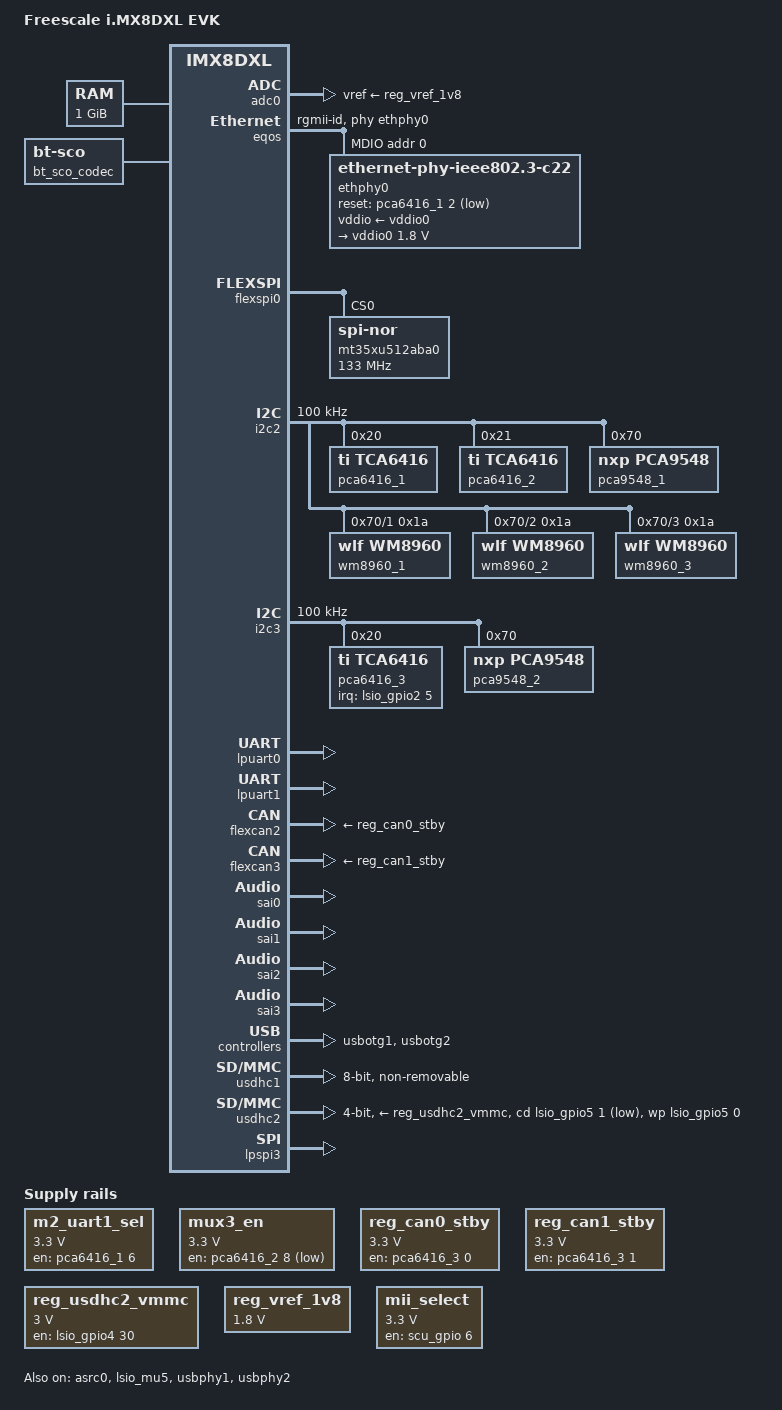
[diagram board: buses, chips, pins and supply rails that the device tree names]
// SPDX-License-Identifier: GPL-2.0+
/*
 * Copyright 2019~2020, 2022 NXP
 */

/dts-v1/;

#include "imx8dxl.dtsi"

/ {
	model = "Freescale i.MX8DXL EVK";
	compatible = "fsl,imx8dxl-evk", "fsl,imx8dxl";

	aliases {
		i2c2 = &i2c2;
		mmc0 = &usdhc1;
		mmc1 = &usdhc2;
		serial0 = &lpuart0;
		serial1 = &lpuart1;
		serial6 = &cm40_lpuart;
	};

	chosen {
		stdout-path = &lpuart0;
	};

	imx8dxl-cm4 {
		compatible = "fsl,imx8qxp-cm4";
		clocks = <&clk_dummy>;
		mbox-names = "tx", "rx", "rxdb";
		mboxes = <&lsio_mu5 0 1 &lsio_mu5 1 1 &lsio_mu5 3 1>;
		memory-region = <&vdevbuffer>, <&vdev0vring0>, <&vdev0vring1>,
				<&vdev1vring0>, <&vdev1vring1>, <&rsc_table>;
		power-domains = <&pd IMX_SC_R_M4_0_PID0>, <&pd IMX_SC_R_M4_0_MU_1A>;
		fsl,resource-id = <IMX_SC_R_M4_0_PID0>;
		fsl,entry-address = <0x34fe0000>;
	};


	memory@80000000 {
		device_type = "memory";
		reg = <0x00000000 0x80000000 0 0x40000000>;
	};

	reserved-memory {
		#address-cells = <2>;
		#size-cells = <2>;
		ranges;

		/*
		 * Memory reserved for optee usage. Please do not use.
		 * This will be automatically added to dtb if OP-TEE is installed.
		 * optee@96000000 {
		 *     reg = <0 0x96000000 0 0x2000000>;
		 *     no-map;
		 * };
		 */

		/* global autoconfigured region for contiguous allocations */
		linux,cma {
			compatible = "shared-dma-pool";
			reusable;
			size = <0 0x14000000>;
			alloc-ranges = <0 0x98000000 0 0x14000000>;
			linux,cma-default;
		};

		vdev0vring0: memory0@90000000 {
			reg = <0 0x90000000 0 0x8000>;
			no-map;
		};

		vdev0vring1: memory@90008000 {
			reg = <0 0x90008000 0 0x8000>;
			no-map;
		};

		vdev1vring0: memory@90010000 {
			reg = <0 0x90010000 0 0x8000>;
			no-map;
		};

		vdev1vring1: memory@90018000 {
			reg = <0 0x90018000 0 0x8000>;
			no-map;
		};

		rsc_table: memory-rsc-table@900ff000 {
			reg = <0 0x900ff000 0 0x1000>;
			no-map;
		};

		vdevbuffer: memory-vdevbuffer@90400000 {
			compatible = "shared-dma-pool";
			reg = <0 0x90400000 0 0x100000>;
			no-map;
		};
	};

	m2_uart1_sel: regulator-m2uart1sel {
		compatible = "regulator-fixed";
		regulator-min-microvolt = <3300000>;
		regulator-max-microvolt = <3300000>;
		regulator-name = "m2_uart1_sel";
		gpio = <&pca6416_1 6 GPIO_ACTIVE_HIGH>;
		enable-active-high;
		regulator-always-on;
	};

	mux3_en: regulator-0 {
		compatible = "regulator-fixed";
		regulator-min-microvolt = <3300000>;
		regulator-max-microvolt = <3300000>;
		regulator-name = "mux3_en";
		gpio = <&pca6416_2 8 GPIO_ACTIVE_LOW>;
		regulator-always-on;
	};

	reg_fec1_sel: regulator-1 {
		compatible = "regulator-fixed";
		regulator-name = "fec1_supply";
		regulator-min-microvolt = <3300000>;
		regulator-max-microvolt = <3300000>;
		gpio = <&pca6416_1 11 GPIO_ACTIVE_LOW>;
		regulator-always-on;
		status = "disabled";
	};

	reg_fec1_io: regulator-2 {
		compatible = "regulator-fixed";
		regulator-name = "fec1_io_supply";
		regulator-min-microvolt = <1800000>;
		regulator-max-microvolt = <1800000>;
		gpio = <&max7322 0 GPIO_ACTIVE_HIGH>;
		enable-active-high;
		regulator-always-on;
		status = "disabled";
	};

	reg_can0_stby: regulator-4 {
		compatible = "regulator-fixed";
		regulator-name = "can0-stby";
		regulator-min-microvolt = <3300000>;
		regulator-max-microvolt = <3300000>;
		gpio = <&pca6416_3 0 GPIO_ACTIVE_HIGH>;
		enable-active-high;
	};

	reg_can1_stby: regulator-5 {
		compatible = "regulator-fixed";
		regulator-name = "can1-stby";
		regulator-min-microvolt = <3300000>;
		regulator-max-microvolt = <3300000>;
		gpio = <&pca6416_3 1 GPIO_ACTIVE_HIGH>;
		enable-active-high;
	};

	reg_usdhc2_vmmc: regulator-3 {
		compatible = "regulator-fixed";
		regulator-name = "SD1_SPWR";
		regulator-min-microvolt = <3000000>;
		regulator-max-microvolt = <3000000>;
		gpio = <&lsio_gpio4 30 GPIO_ACTIVE_HIGH>;
		enable-active-high;
		off-on-delay-us = <3480>;
	};

	reg_vref_1v8: regulator-adc-vref {
		compatible = "regulator-fixed";
		regulator-name = "vref_1v8";
		regulator-min-microvolt = <1800000>;
		regulator-max-microvolt = <1800000>;
	};

	mii_select: regulator-4 {
		compatible = "regulator-fixed";
		regulator-name = "mii-select";
		regulator-min-microvolt = <3300000>;
		regulator-max-microvolt = <3300000>;
		gpio = <&scu_gpio 6 GPIO_ACTIVE_HIGH>;
		enable-active-high;
		regulator-always-on;
	};

	bt_sco_codec: audio-codec-bt {
		compatible = "linux,bt-sco";
		#sound-dai-cells = <1>;
	};

	sound-bt-sco {
		compatible = "simple-audio-card";
		simple-audio-card,name = "bt-sco-audio";
		simple-audio-card,format = "dsp_a";
		simple-audio-card,bitclock-inversion;
		simple-audio-card,frame-master = <&btcpu>;
		simple-audio-card,bitclock-master = <&btcpu>;

		btcpu: simple-audio-card,cpu {
			sound-dai = <&sai0>;
			dai-tdm-slot-num = <2>;
			dai-tdm-slot-width = <16>;
		};

		simple-audio-card,codec {
			sound-dai = <&bt_sco_codec 1>;
		};
	};

	sound-wm8960-1 {
		compatible = "fsl,imx-audio-wm8960";
		model = "wm8960-audio";
		audio-cpu = <&sai1>;
		audio-codec = <&wm8960_1>;
		audio-asrc = <&asrc0>;
		audio-routing = "Headphone Jack", "HP_L",
				"Headphone Jack", "HP_R",
				"Ext Spk", "SPK_LP",
				"Ext Spk", "SPK_LN",
				"Ext Spk", "SPK_RP",
				"Ext Spk", "SPK_RN",
				"LINPUT1", "Mic Jack",
				"Mic Jack", "MICB";
	};

	sound-wm8960-2 {
		compatible = "fsl,imx-audio-wm8960";
		model = "wm8960-audio-2";
		audio-cpu = <&sai2>;
		audio-codec = <&wm8960_2>;
		audio-routing = "Headphone Jack", "HP_L",
				"Headphone Jack", "HP_R",
				"Ext Spk", "SPK_LP",
				"Ext Spk", "SPK_LN",
				"Ext Spk", "SPK_RP",
				"Ext Spk", "SPK_RN",
				"LINPUT1", "Mic Jack",
				"Mic Jack", "MICB";
	};

	sound-wm8960-3 {
		compatible = "fsl,imx-audio-wm8960";
		model = "wm8960-audio-3";
		audio-cpu = <&sai3>;
		audio-codec = <&wm8960_3>;
		audio-routing = "Headphone Jack", "HP_L",
				"Headphone Jack", "HP_R",
				"Ext Spk", "SPK_LP",
				"Ext Spk", "SPK_LN",
				"Ext Spk", "SPK_RP",
				"Ext Spk", "SPK_RN",
				"LINPUT1", "Mic Jack",
				"Mic Jack", "MICB";
	};
};

&adc0 {
	vref-supply = <&reg_vref_1v8>;
	status = "okay";
};

&asrc0 {
	fsl,asrc-rate = <48000>;
	status = "okay";
};

&eqos {
	pinctrl-names = "default";
	pinctrl-0 = <&pinctrl_eqos>;
	phy-mode = "rgmii-id";
	phy-handle = <&ethphy0>;
	nvmem-cells = <&fec_mac1>;
	nvmem-cell-names = "mac-address";
	status = "okay";

	mdio {
		compatible = "snps,dwmac-mdio";
		#address-cells = <1>;
		#size-cells = <0>;

		ethphy0: ethernet-phy@0 {
			compatible = "ethernet-phy-ieee802.3-c22";
			reg = <0>;
			eee-broken-1000t;
			qca,disable-smarteee;
			qca,disable-hibernation-mode;
			reset-gpios = <&pca6416_1 2 GPIO_ACTIVE_LOW>;
			reset-assert-us = <20>;
			reset-deassert-us = <200000>;
			vddio-supply = <&vddio0>;

			vddio0: vddio-regulator {
				regulator-min-microvolt = <1800000>;
				regulator-max-microvolt = <1800000>;
			};
		};
	};
};

/*
 * fec1 shares the some PINs with usdhc2.
 * by default usdhc2 is enabled in this dts.
 * Please disable usdhc2 to enable fec1
 */
&fec1 {
	pinctrl-names = "default";
	pinctrl-0 = <&pinctrl_fec1>;
	phy-mode = "rgmii-txid";
	phy-handle = <&ethphy1>;
	fsl,magic-packet;
	rx-internal-delay-ps = <2000>;
	nvmem-cells = <&fec_mac0>;
	nvmem-cell-names = "mac-address";
	status = "disabled";

	mdio {
		#address-cells = <1>;
		#size-cells = <0>;

		ethphy1: ethernet-phy@1 {
			compatible = "ethernet-phy-ieee802.3-c22";
			reg = <1>;
			reset-gpios = <&pca6416_1 0 GPIO_ACTIVE_LOW>;
			reset-assert-us = <10000>;
			qca,disable-smarteee;
			vddio-supply = <&vddio1>;

			vddio1: vddio-regulator {
				regulator-min-microvolt = <1800000>;
				regulator-max-microvolt = <1800000>;
			};
		};
	};
};

&flexspi0 {
	pinctrl-names = "default";
	pinctrl-0 = <&pinctrl_flexspi0>;
	status = "okay";

	mt35xu512aba0: flash@0 {
		reg = <0>;
		#address-cells = <1>;
		#size-cells = <1>;
		compatible = "jedec,spi-nor";
		spi-max-frequency = <133000000>;
		spi-tx-bus-width = <8>;
		spi-rx-bus-width = <8>;
	};
};

&i2c2 {
	#address-cells = <1>;
	#size-cells = <0>;
	clock-frequency = <100000>;
	pinctrl-names = "default";
	pinctrl-0 = <&pinctrl_i2c2>;
	status = "okay";

	pca6416_1: gpio@20 {
		compatible = "ti,tca6416";
		reg = <0x20>;
		gpio-controller;
		#gpio-cells = <2>;
	};

	pca6416_2: gpio@21 {
		compatible = "ti,tca6416";
		reg = <0x21>;
		gpio-controller;
		#gpio-cells = <2>;
	};

	pca9548_1: i2c-mux@70 {
		compatible = "nxp,pca9548";
		#address-cells = <1>;
		#size-cells = <0>;
		reg = <0x70>;

		i2c@0 {
			#address-cells = <1>;
			#size-cells = <0>;
			reg = <0x0>;

			max7322: gpio@68 {
				compatible = "maxim,max7322";
				reg = <0x68>;
				gpio-controller;
				#gpio-cells = <2>;
				status = "disabled";
			};
		};

		i2c@1 {
			#address-cells = <1>;
			#size-cells = <0>;
			reg = <0x1>;

			wm8960_1: audio-codec@1a {
				compatible = "wlf,wm8960";
				reg = <0x1a>;
				clocks = <&mclkout1_lpcg IMX_LPCG_CLK_0>;
				clock-names = "mclk";
				assigned-clocks = <&clk IMX_SC_R_AUDIO_PLL_0 IMX_SC_PM_CLK_PLL>,
						  <&clk IMX_SC_R_AUDIO_PLL_0 IMX_SC_PM_CLK_SLV_BUS>,
						  <&clk IMX_SC_R_AUDIO_PLL_0 IMX_SC_PM_CLK_MST_BUS>,
						  <&mclkout1_lpcg IMX_LPCG_CLK_0>;
				assigned-clock-rates = <786432000>,
						       <49152000>,
						       <12288000>,
						       <12288000>;
				wlf,shared-lrclk;
				wlf,hp-cfg = <2 2 3>;
				wlf,gpio-cfg = <1 3>;
			};
		};

		i2c@2 {
			#address-cells = <1>;
			#size-cells = <0>;
			reg = <0x2>;

			wm8960_2: audio-codec@1a {
				compatible = "wlf,wm8960";
				reg = <0x1a>;
				clocks = <&mclkout1_lpcg IMX_LPCG_CLK_0>;
				clock-names = "mclk";
				assigned-clocks = <&clk IMX_SC_R_AUDIO_PLL_0 IMX_SC_PM_CLK_PLL>,
						  <&clk IMX_SC_R_AUDIO_PLL_0 IMX_SC_PM_CLK_SLV_BUS>,
						  <&clk IMX_SC_R_AUDIO_PLL_0 IMX_SC_PM_CLK_MST_BUS>,
						  <&mclkout1_lpcg IMX_LPCG_CLK_0>;
				assigned-clock-rates = <786432000>,
						       <49152000>,
						       <12288000>,
						       <12288000>;
				wlf,shared-lrclk;
				wlf,hp-cfg = <2 2 3>;
				wlf,gpio-cfg = <1 3>;
			};
		};

		i2c@3 {
			#address-cells = <1>;
			#size-cells = <0>;
			reg = <0x3>;

			wm8960_3: audio-codec@1a {
				compatible = "wlf,wm8960";
				reg = <0x1a>;
				clocks = <&mclkout1_lpcg IMX_LPCG_CLK_0>;
				clock-names = "mclk";
				assigned-clocks = <&clk IMX_SC_R_AUDIO_PLL_0 IMX_SC_PM_CLK_PLL>,
						  <&clk IMX_SC_R_AUDIO_PLL_0 IMX_SC_PM_CLK_SLV_BUS>,
						  <&clk IMX_SC_R_AUDIO_PLL_0 IMX_SC_PM_CLK_MST_BUS>,
						  <&mclkout1_lpcg IMX_LPCG_CLK_0>;
				assigned-clock-rates = <786432000>,
						       <49152000>,
						       <12288000>,
						       <12288000>;
				wlf,shared-lrclk;
				wlf,hp-cfg = <2 2 3>;
				wlf,gpio-cfg = <1 3>;
			};
		};

		i2c@4 {
			#address-cells = <1>;
			#size-cells = <0>;
			reg = <0x4>;
		};

		i2c@5 {
			#address-cells = <1>;
			#size-cells = <0>;
			reg = <0x5>;
		};

		i2c@6 {
			#address-cells = <1>;
			#size-cells = <0>;
			reg = <0x6>;
		};
	};
};

&i2c3 {
	#address-cells = <1>;
	#size-cells = <0>;
	clock-frequency = <100000>;
	pinctrl-names = "default";
	pinctrl-0 = <&pinctrl_i2c3>;
	status = "okay";

	pca6416_3: gpio@20 {
		compatible = "ti,tca6416";
		reg = <0x20>;
		gpio-controller;
		#gpio-cells = <2>;
		interrupt-parent = <&lsio_gpio2>;
		interrupts = <5 IRQ_TYPE_EDGE_RISING>;
	};

	pca9548_2: i2c-mux@70 {
		compatible = "nxp,pca9548";
		reg = <0x70>;
		#address-cells = <1>;
		#size-cells = <0>;

		i2c@0 {
			#address-cells = <1>;
			#size-cells = <0>;
			reg = <0x0>;
		};

		i2c@1 {
			#address-cells = <1>;
			#size-cells = <0>;
			reg = <0x1>;
		};

		i2c@2 {
			#address-cells = <1>;
			#size-cells = <0>;
			reg = <0x2>;
		};

		i2c@3 {
			#address-cells = <1>;
			#size-cells = <0>;
			reg = <0x3>;
		};

		i2c@4 {
			#address-cells = <1>;
			#size-cells = <0>;
			reg = <0x4>;
		};
	};
};

&lpuart0 {
	pinctrl-names = "default";
	pinctrl-0 = <&pinctrl_lpuart0>;
	status = "okay";
};

&lpuart1 {
	pinctrl-names = "default";
	pinctrl-0 = <&pinctrl_lpuart1>;
	status = "okay";
};

&lsio_mu5 {
	status = "okay";
};

&flexcan2 {
	pinctrl-names = "default";
	pinctrl-0 = <&pinctrl_flexcan2>;
	xceiver-supply = <&reg_can0_stby>;
	status = "okay";
};

&flexcan3 {
	pinctrl-names = "default";
	pinctrl-0 = <&pinctrl_flexcan3>;
	xceiver-supply = <&reg_can1_stby>;
	status = "okay";
};

&cm40_intmux {
	status = "disabled";
};

&cm40_lpuart {
	pinctrl-names = "default";
	pinctrl-0 = <&pinctrl_cm40_lpuart>;
	status = "disabled";
};

&lsio_gpio4 {
	status = "okay";
};

&lsio_gpio5 {
	status = "okay";
};

&sai0 {
	pinctrl-names = "default";
	pinctrl-0 = <&pinctrl_sai0>;
	#sound-dai-cells = <0>;
	assigned-clocks = <&clk IMX_SC_R_AUDIO_PLL_0 IMX_SC_PM_CLK_PLL>,
			  <&clk IMX_SC_R_AUDIO_PLL_0 IMX_SC_PM_CLK_SLV_BUS>,
			  <&clk IMX_SC_R_AUDIO_PLL_0 IMX_SC_PM_CLK_MST_BUS>,
			  <&sai0_lpcg IMX_LPCG_CLK_0>;
	assigned-clock-rates = <786432000>, <49152000>, <12288000>, <49152000>;
	status = "okay";
};

&sai1 {
	assigned-clocks = <&clk IMX_SC_R_AUDIO_PLL_0 IMX_SC_PM_CLK_PLL>,
			  <&clk IMX_SC_R_AUDIO_PLL_0 IMX_SC_PM_CLK_SLV_BUS>,
			  <&clk IMX_SC_R_AUDIO_PLL_0 IMX_SC_PM_CLK_MST_BUS>,
			  <&sai1_lpcg IMX_LPCG_CLK_0>;
	assigned-clock-rates = <786432000>, <49152000>, <12288000>, <49152000>;
	pinctrl-names = "default";
	pinctrl-0 = <&pinctrl_sai1>;
	status = "okay";
};

&sai2 {
	assigned-clocks = <&clk IMX_SC_R_AUDIO_PLL_0 IMX_SC_PM_CLK_PLL>,
			  <&clk IMX_SC_R_AUDIO_PLL_0 IMX_SC_PM_CLK_SLV_BUS>,
			  <&clk IMX_SC_R_AUDIO_PLL_0 IMX_SC_PM_CLK_MST_BUS>,
			  <&sai2_lpcg IMX_LPCG_CLK_0>;
	assigned-clock-rates = <786432000>, <49152000>, <12288000>, <49152000>;
	pinctrl-names = "default";
	pinctrl-0 = <&pinctrl_sai2>;
	fsl,sai-asynchronous;
	status = "okay";
};

&sai3 {
	assigned-clocks = <&clk IMX_SC_R_AUDIO_PLL_0 IMX_SC_PM_CLK_PLL>,
			  <&clk IMX_SC_R_AUDIO_PLL_0 IMX_SC_PM_CLK_SLV_BUS>,
			  <&clk IMX_SC_R_AUDIO_PLL_0 IMX_SC_PM_CLK_MST_BUS>,
			  <&sai3_lpcg IMX_LPCG_CLK_0>;
	assigned-clock-rates = <786432000>, <49152000>, <12288000>, <49152000>;
	pinctrl-names = "default";
	pinctrl-0 = <&pinctrl_sai3>;
	fsl,sai-asynchronous;
	status = "okay";
};

&thermal_zones {
	pmic-thermal {
		polling-delay-passive = <250>;
		polling-delay = <2000>;
		thermal-sensors = <&tsens IMX_SC_R_PMIC_0>;

		trips {
			pmic_alert0: trip0 {
				temperature = <110000>;
				hysteresis = <2000>;
				type = "passive";
			};

			pmic_crit0: trip1 {
				temperature = <125000>;
				hysteresis = <2000>;
				type = "critical";
			};
		};

		cooling-maps {
			map0 {
				trip = <&pmic_alert0>;
				cooling-device =
					<&A35_0 THERMAL_NO_LIMIT THERMAL_NO_LIMIT>,
					<&A35_1 THERMAL_NO_LIMIT THERMAL_NO_LIMIT>;
			};
		};
	};
};

&usbphy1 {
	/* USB eye diagram tests result */
	fsl,tx-d-cal = <114>;
	status = "okay";
};

&usbotg1 {
	pinctrl-names = "default";
	pinctrl-0 = <&pinctrl_usbotg1>;
	srp-disable;
	hnp-disable;
	adp-disable;
	power-active-high;
	disable-over-current;
	status = "okay";
};

&usbphy2 {
	/* USB eye diagram tests result */
	fsl,tx-d-cal = <111>;
	status = "okay";
};

&usbotg2 {
	pinctrl-names = "default";
	pinctrl-0 = <&pinctrl_usbotg2>;
	srp-disable;
	hnp-disable;
	adp-disable;
	power-active-high;
	disable-over-current;
	status = "okay";
};

&usdhc1 {
	pinctrl-names = "default";
	pinctrl-0 = <&pinctrl_usdhc1>;
	bus-width = <8>;
	no-sd;
	no-sdio;
	non-removable;
	status = "okay";
};

&usdhc2 {
	pinctrl-names = "default";
	pinctrl-0 = <&pinctrl_usdhc2>, <&pinctrl_usdhc2_gpio>;
	bus-width = <4>;
	vmmc-supply = <&reg_usdhc2_vmmc>;
	cd-gpios = <&lsio_gpio5 1 GPIO_ACTIVE_LOW>;
	wp-gpios = <&lsio_gpio5 0 GPIO_ACTIVE_HIGH>;
	status = "okay";
};

&lpspi3 {
	fsl,spi-only-use-cs1-sel;
	pinctrl-names = "default";
	pinctrl-0 = <&pinctrl_lpspi3>;
	status = "okay";
};

&iomuxc {
	pinctrl-names = "default";
	pinctrl-0 = <&pinctrl_hog>;

	pinctrl_hog: hoggrp {
		fsl,pins = <
			IMX8DXL_COMP_CTL_GPIO_1V8_3V3_GPIORHB_PAD	0x000514a0
			IMX8DXL_COMP_CTL_GPIO_1V8_3V3_GPIORHK_PAD	0x000014a0
			IMX8DXL_SPI3_CS0_ADMA_ACM_MCLK_OUT1		0x0600004c
			IMX8DXL_SNVS_TAMPER_OUT1_LSIO_GPIO2_IO05_IN	0x0600004c
		>;
	};

	pinctrl_usbotg1: usbotg1grp {
		fsl,pins = <
			IMX8DXL_USB_SS3_TC0_CONN_USB_OTG1_PWR		0x00000021
		>;
	};

	pinctrl_usbotg2: usbotg2grp {
		fsl,pins = <
			IMX8DXL_USB_SS3_TC1_CONN_USB_OTG2_PWR		0x00000021
		>;
	};

	pinctrl_eqos: eqosgrp {
		fsl,pins = <
			IMX8DXL_ENET0_MDC_CONN_EQOS_MDC				0x06000020
			IMX8DXL_ENET0_MDIO_CONN_EQOS_MDIO			0x06000020
			IMX8DXL_ENET1_RGMII_RXC_CONN_EQOS_RGMII_RXC		0x06000020
			IMX8DXL_ENET1_RGMII_RXD0_CONN_EQOS_RGMII_RXD0		0x06000020
			IMX8DXL_ENET1_RGMII_RXD1_CONN_EQOS_RGMII_RXD1		0x06000020
			IMX8DXL_ENET1_RGMII_RXD2_CONN_EQOS_RGMII_RXD2		0x06000020
			IMX8DXL_ENET1_RGMII_RXD3_CONN_EQOS_RGMII_RXD3		0x06000020
			IMX8DXL_ENET1_RGMII_RX_CTL_CONN_EQOS_RGMII_RX_CTL	0x06000020
			IMX8DXL_ENET1_RGMII_TXC_CONN_EQOS_RGMII_TXC		0x06000020
			IMX8DXL_ENET1_RGMII_TXD0_CONN_EQOS_RGMII_TXD0		0x06000020
			IMX8DXL_ENET1_RGMII_TXD1_CONN_EQOS_RGMII_TXD1		0x06000020
			IMX8DXL_ENET1_RGMII_TXD2_CONN_EQOS_RGMII_TXD2		0x06000020
			IMX8DXL_ENET1_RGMII_TXD3_CONN_EQOS_RGMII_TXD3		0x06000020
			IMX8DXL_ENET1_RGMII_TX_CTL_CONN_EQOS_RGMII_TX_CTL	0x06000020
		>;
	};

	pinctrl_flexspi0: flexspi0grp {
		fsl,pins = <
			IMX8DXL_QSPI0A_DATA0_LSIO_QSPI0A_DATA0     0x06000021
			IMX8DXL_QSPI0A_DATA1_LSIO_QSPI0A_DATA1     0x06000021
			IMX8DXL_QSPI0A_DATA2_LSIO_QSPI0A_DATA2     0x06000021
			IMX8DXL_QSPI0A_DATA3_LSIO_QSPI0A_DATA3     0x06000021
			IMX8DXL_QSPI0A_DQS_LSIO_QSPI0A_DQS         0x06000021
			IMX8DXL_QSPI0A_SS0_B_LSIO_QSPI0A_SS0_B     0x06000021
			IMX8DXL_QSPI0A_SCLK_LSIO_QSPI0A_SCLK       0x06000021
			IMX8DXL_QSPI0B_SCLK_LSIO_QSPI0B_SCLK       0x06000021
			IMX8DXL_QSPI0B_DATA0_LSIO_QSPI0B_DATA0     0x06000021
			IMX8DXL_QSPI0B_DATA1_LSIO_QSPI0B_DATA1     0x06000021
			IMX8DXL_QSPI0B_DATA2_LSIO_QSPI0B_DATA2     0x06000021
			IMX8DXL_QSPI0B_DATA3_LSIO_QSPI0B_DATA3     0x06000021
			IMX8DXL_QSPI0B_DQS_LSIO_QSPI0B_DQS         0x06000021
			IMX8DXL_QSPI0B_SS0_B_LSIO_QSPI0B_SS0_B     0x06000021
		>;
	};

	pinctrl_flexcan2: flexcan2grp {
		fsl,pins = <
			IMX8DXL_UART2_TX_ADMA_FLEXCAN1_TX	0x00000021
			IMX8DXL_UART2_RX_ADMA_FLEXCAN1_RX	0x00000021
		>;
	};

	pinctrl_flexcan3: flexcan3grp {
		fsl,pins = <
			IMX8DXL_FLEXCAN2_TX_ADMA_FLEXCAN2_TX	0x00000021
			IMX8DXL_FLEXCAN2_RX_ADMA_FLEXCAN2_RX	0x00000021
		>;
	};

	pinctrl_fec1: fec1grp {
		fsl,pins = <
			IMX8DXL_COMP_CTL_GPIO_1V8_3V3_ENET_ENETB0_PAD		0x000014a0
			IMX8DXL_COMP_CTL_GPIO_1V8_3V3_ENET_ENETB1_PAD		0x000014a0
			IMX8DXL_ENET0_MDC_CONN_ENET0_MDC			0x06000020
			IMX8DXL_ENET0_MDIO_CONN_ENET0_MDIO			0x06000020
			IMX8DXL_ENET0_RGMII_RXC_CONN_ENET0_RGMII_RXC		0x00000060
			IMX8DXL_ENET0_RGMII_RXD0_CONN_ENET0_RGMII_RXD0		0x00000060
			IMX8DXL_ENET0_RGMII_RXD1_CONN_ENET0_RGMII_RXD1		0x00000060
			IMX8DXL_ENET0_RGMII_RXD2_CONN_ENET0_RGMII_RXD2		0x00000060
			IMX8DXL_ENET0_RGMII_RXD3_CONN_ENET0_RGMII_RXD3		0x00000060
			IMX8DXL_ENET0_RGMII_RX_CTL_CONN_ENET0_RGMII_RX_CTL	0x00000060
			IMX8DXL_ENET0_RGMII_TXC_CONN_ENET0_RGMII_TXC		0x00000060
			IMX8DXL_ENET0_RGMII_TXD0_CONN_ENET0_RGMII_TXD0		0x00000060
			IMX8DXL_ENET0_RGMII_TXD1_CONN_ENET0_RGMII_TXD1		0x00000060
			IMX8DXL_ENET0_RGMII_TXD2_CONN_ENET0_RGMII_TXD2		0x00000060
			IMX8DXL_ENET0_RGMII_TXD3_CONN_ENET0_RGMII_TXD3		0x00000060
			IMX8DXL_ENET0_RGMII_TX_CTL_CONN_ENET0_RGMII_TX_CTL	0x00000060
		>;
	};

	pinctrl_lpspi3: lpspi3grp {
		fsl,pins = <
			IMX8DXL_SPI3_SCK_ADMA_SPI3_SCK		0x6000040
			IMX8DXL_SPI3_SDO_ADMA_SPI3_SDO		0x6000040
			IMX8DXL_SPI3_SDI_ADMA_SPI3_SDI		0x6000040
			IMX8DXL_SPI3_CS1_ADMA_SPI3_CS1		0x6000040
		>;
	};

	pinctrl_i2c2: i2c2grp {
		fsl,pins = <
			IMX8DXL_SPI1_SCK_ADMA_I2C2_SDA		0x06000021
			IMX8DXL_SPI1_SDO_ADMA_I2C2_SCL		0x06000021
		>;
	};

	pinctrl_cm40_lpuart: cm40lpuartgrp {
		fsl,pins = <
			IMX8DXL_ADC_IN2_M40_UART0_RX		0x06000020
			IMX8DXL_ADC_IN3_M40_UART0_TX		0x06000020
		>;
	};

	pinctrl_i2c3: i2c3grp {
		fsl,pins = <
			IMX8DXL_SPI1_CS0_ADMA_I2C3_SDA		0x06000021
			IMX8DXL_SPI1_SDI_ADMA_I2C3_SCL		0x06000021
		>;
	};

	pinctrl_lpuart0: lpuart0grp {
		fsl,pins = <
			IMX8DXL_UART0_RX_ADMA_UART0_RX		0x06000020
			IMX8DXL_UART0_TX_ADMA_UART0_TX		0x06000020
		>;
	};

	pinctrl_lpuart1: lpuart1grp {
		fsl,pins = <
			IMX8DXL_UART1_TX_ADMA_UART1_TX          0x06000020
			IMX8DXL_UART1_RX_ADMA_UART1_RX          0x06000020
			IMX8DXL_UART1_RTS_B_ADMA_UART1_RTS_B    0x06000020
			IMX8DXL_UART1_CTS_B_ADMA_UART1_CTS_B    0x06000020
		>;
	};

	pinctrl_sai0: sai0grp {
		fsl,pins = <
			IMX8DXL_SPI0_CS0_ADMA_SAI0_RXD		0x06000060
			IMX8DXL_SPI0_CS1_ADMA_SAI0_RXC		0x06000040
			IMX8DXL_SPI0_SCK_ADMA_SAI0_TXC		0x06000060
			IMX8DXL_SPI0_SDI_ADMA_SAI0_TXD		0x06000060
			IMX8DXL_SPI0_SDO_ADMA_SAI0_TXFS		0x06000040
		>;
	};

	pinctrl_sai1: sai1grp {
		fsl,pins = <
			IMX8DXL_FLEXCAN0_RX_ADMA_SAI1_TXC	0x06000040
			IMX8DXL_FLEXCAN0_TX_ADMA_SAI1_TXFS	0x06000040
			IMX8DXL_FLEXCAN1_RX_ADMA_SAI1_TXD	0x06000060
			IMX8DXL_FLEXCAN1_TX_ADMA_SAI1_RXD	0x06000060
		>;
	};

	pinctrl_sai2: sai2grp {
		fsl,pins = <
			IMX8DXL_SNVS_TAMPER_OUT3_ADMA_SAI2_RXC	0x06000040
			IMX8DXL_SNVS_TAMPER_IN0_ADMA_SAI2_RXFS	0x06000040
			IMX8DXL_SNVS_TAMPER_OUT4_ADMA_SAI2_RXD	0x06000060
		>;
	};

	pinctrl_sai3: sai3grp {
		fsl,pins = <
			IMX8DXL_SNVS_TAMPER_IN1_ADMA_SAI3_RXC	0x06000040
			IMX8DXL_SNVS_TAMPER_IN3_ADMA_SAI3_RXFS	0x06000040
			IMX8DXL_SNVS_TAMPER_IN2_ADMA_SAI3_RXD	0x06000060
		>;
	};

	pinctrl_usdhc1: usdhc1grp {
		fsl,pins = <
			IMX8DXL_EMMC0_CLK_CONN_EMMC0_CLK	0x06000041
			IMX8DXL_EMMC0_CMD_CONN_EMMC0_CMD	0x00000021
			IMX8DXL_EMMC0_DATA0_CONN_EMMC0_DATA0	0x00000021
			IMX8DXL_EMMC0_DATA1_CONN_EMMC0_DATA1	0x00000021
			IMX8DXL_EMMC0_DATA2_CONN_EMMC0_DATA2	0x00000021
			IMX8DXL_EMMC0_DATA3_CONN_EMMC0_DATA3	0x00000021
			IMX8DXL_EMMC0_DATA4_CONN_EMMC0_DATA4	0x00000021
			IMX8DXL_EMMC0_DATA5_CONN_EMMC0_DATA5	0x00000021
			IMX8DXL_EMMC0_DATA6_CONN_EMMC0_DATA6	0x00000021
			IMX8DXL_EMMC0_DATA7_CONN_EMMC0_DATA7	0x00000021
			IMX8DXL_EMMC0_STROBE_CONN_EMMC0_STROBE	0x00000041
		>;
	};

	pinctrl_usdhc2_gpio: usdhc2gpiogrp {
		fsl,pins = <
			IMX8DXL_ENET0_RGMII_TX_CTL_LSIO_GPIO4_IO30	0x00000040 /* RESET_B */
			IMX8DXL_ENET0_RGMII_TXD1_LSIO_GPIO5_IO00	0x00000021 /* WP */
			IMX8DXL_ENET0_RGMII_TXD2_LSIO_GPIO5_IO01	0x00000021 /* CD */
		>;
	};

	pinctrl_usdhc2: usdhc2grp {
		fsl,pins = <
			IMX8DXL_ENET0_RGMII_RXC_CONN_USDHC1_CLK		0x06000041
			IMX8DXL_ENET0_RGMII_RX_CTL_CONN_USDHC1_CMD	0x00000021
			IMX8DXL_ENET0_RGMII_RXD0_CONN_USDHC1_DATA0	0x00000021
			IMX8DXL_ENET0_RGMII_RXD1_CONN_USDHC1_DATA1	0x00000021
			IMX8DXL_ENET0_RGMII_RXD2_CONN_USDHC1_DATA2	0x00000021
			IMX8DXL_ENET0_RGMII_RXD3_CONN_USDHC1_DATA3	0x00000021
			IMX8DXL_ENET0_RGMII_TXD0_CONN_USDHC1_VSELECT	0x00000021
		>;
	};
};
